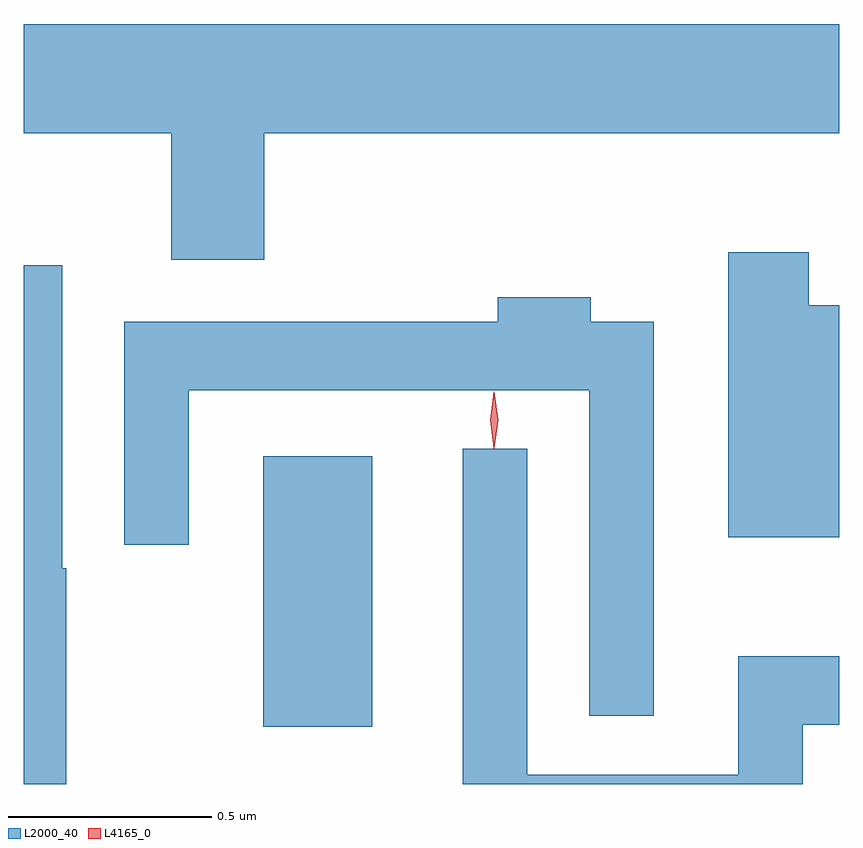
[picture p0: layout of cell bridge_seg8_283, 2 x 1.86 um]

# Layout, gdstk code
import gdstk
lib = gdstk.Library(unit=1e-6, precision=1e-09)
def R(c, l, rs):  # rectangles x0, y0, x1, y1
    for r in rs: c.add(gdstk.rectangle(r[:2], r[2:], *l))
def P(c, l, *ps):  # polygons
    for p in ps: c.add(gdstk.Polygon(p, *l))
L2000_40 = (2000, 40)
L4165_0 = (4165, 0)

bridge_seg8_283 = lib.new_cell('bridge_seg8_283')
R(bridge_seg8_283, L2000_40, [(1276.796,1821.641,1277.064,1822.304)])
P(bridge_seg8_283, L2000_40, [(1276.799,1823.096),(1278.209,1823.096),(1278.209,1823.364),(1276.209,1823.364),(1276.209,1823.096),(1276.571,1823.096),(1276.571,1822.786),(1276.799,1822.786)],
  [(1278.209,1822.674),(1278.134,1822.674),(1278.134,1822.804),(1277.936,1822.804),(1277.936,1822.106),(1278.209,1822.106)],
  [(1276.314,1822.03),(1276.304,1822.03),(1276.304,1822.773),(1276.209,1822.773),(1276.209,1821.501),(1276.314,1821.501)],
  [(1277.754,1822.634),(1277.599,1822.634),(1277.599,1822.694),(1277.371,1822.694),(1277.371,1822.634),(1276.456,1822.634),(1276.456,1822.088),(1276.614,1822.088),(1276.614,1822.466),(1277.596,1822.466),(1277.596,1821.668),(1277.754,1821.668)],
  [(1278.119,1821.646),(1278.209,1821.646),(1278.209,1821.814),(1277.961,1821.814),(1277.961,1821.524),(1277.444,1821.524),(1277.444,1822.323),(1277.286,1822.323),(1277.286,1821.501),(1278.119,1821.501)])
P(bridge_seg8_283, L4165_0, [(1277.362,1822.327),(1277.353,1822.394),(1277.362,1822.46),(1277.363,1822.46),(1277.363,1822.46),(1277.373,1822.394),(1277.363,1822.327),(1277.363,1822.327)],
  [(1277.363,1822.323),(1277.362,1822.324),(1277.353,1822.393),(1277.362,1822.462),(1277.363,1822.463),(1277.363,1822.462),(1277.373,1822.393),(1277.363,1822.324)])

lib.write_gds('bridge_seg8_283.gds')
